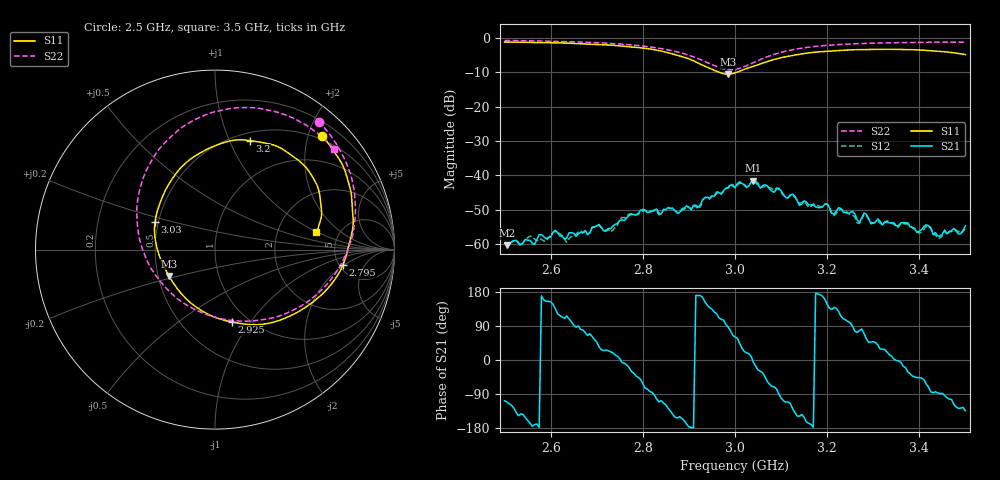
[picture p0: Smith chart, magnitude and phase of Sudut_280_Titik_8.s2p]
# Hz S RI R 50
! CMT, C1220, 16058040, 17.2.0/1
! Date: 15/08/2018 09:58:11
! Data: Format (Calibration Info)
! Freq  S11: Re/Im (F2)  S21: Re/Im (F2)  S12: Re/Im (F2)  S22: Re/Im (F2)
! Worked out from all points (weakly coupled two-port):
!   201 points, 2.5 GHz to 3.5 GHz, reference 50 ohm
!   highest |S21| = -41.59 dB at 3.04 GHz (marker M1); lowest = -60.4 dB at 2.505 GHz (marker M2)
!   lowest |S11| = -10.6 dB at 2.985 GHz (marker M3), VSWR 1.84, Z = 28.5 - j9.14 ohm
!   |S11| at or under -10 dB: 2.965 GHz to 3.004 GHz (38.78 MHz wide, 1.3 % of centre)
!   |S22| runs from -9.3 to -0.7 dB; largest |S21 - S12| = 0.00065
!   S11 on the Smith chart (normalised r, x): 2.5 GHz: 0.43, +2.25; 2.795 GHz: 5.36, -1.93; 2.925 GHz: 0.84, -0.82; 3.03 GHz: 0.48, +0.17; 3.2 GHz: 0.58, +1.19; 3.5 GHz: 3.38, +0.96
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2.5e9  0.5971 0.6336  -0.000308 -0.000966  -0.00031 -0.000993  0.577 0.7136
2.505e9  0.6033 0.6264  -0.000343 -0.000893  -0.000415 -0.000915  0.5826 0.7079
2.67e9  0.7582 0.3181  0.000269 0.00143  0.000381 0.00141  0.748 0.4411
2.73e9  0.7702 0.1485  0.00155 0.000612  0.00143 0.000441  0.7796 0.2881
2.795e9  0.7121 -0.0872  0.00195 -0.00242  0.00175 -0.0023  0.7648 0.0733
2.835e9  0.6101 -0.2358  -0.000989 -0.00261  -0.000865 -0.00253  0.7021 -0.081
2.925e9  0.094 -0.4029  -0.00366 0.00064  -0.00348 0.000476  0.2902 -0.3862
2.985e9  -0.2565 -0.1462  0.000332 0.00649  1.68e-05 0.00664  -0.1735 -0.2994
3e9  -0.3066 -0.0445  0.00321 0.0058  0.00346 0.0056  -0.2743 -0.2121
3.03e9  -0.3344 0.1526  0.00671 0.00202  0.00672 0.00213  -0.4064 0.00946
3.04e9  -0.3216 0.2138  0.00828 -0.000847  0.00855 -0.000657  -0.427 0.0917
3.105e9  -0.134 0.5061  -0.00156 -0.00503  -0.00165 -0.00486  -0.3285 0.5359
3.17e9  0.1 0.6085  -0.00371 -0.000166  -0.00381 -0.000451  -0.0723 0.7427
3.2e9  0.1939 0.6072  -0.00321 0.00204  -0.00313 0.0022  0.0403 0.7768
3.265e9  0.3704 0.5631  0.000671 0.00215  0.0006 0.00194  0.2458 0.7867
3.28e9  0.4034 0.5416  0.00097 0.00264  0.000896 0.00257  0.2867 0.7795
3.295e9  0.4349 0.5194  0.00133 0.00145  0.00143 0.00149  0.3235 0.7718
3.335e9  0.5081 0.4572  0.00197 0.000503  0.00206 0.000428  0.4133 0.7419
3.4e9  0.5757 0.3364  0.00106 -0.00111  0.000916 -0.00111  0.5301 0.6781
3.42e9  0.5856 0.2881  0.000575 -0.00175  0.000551 -0.00174  0.5616 0.6564
3.44e9  0.592 0.2372  6.6e-05 -0.0013  5.39e-05 -0.0012  0.5904 0.6329
3.5e9  0.5639 0.0953  -0.00128 -0.00133  -0.00125 -0.00112  0.6627 0.56
